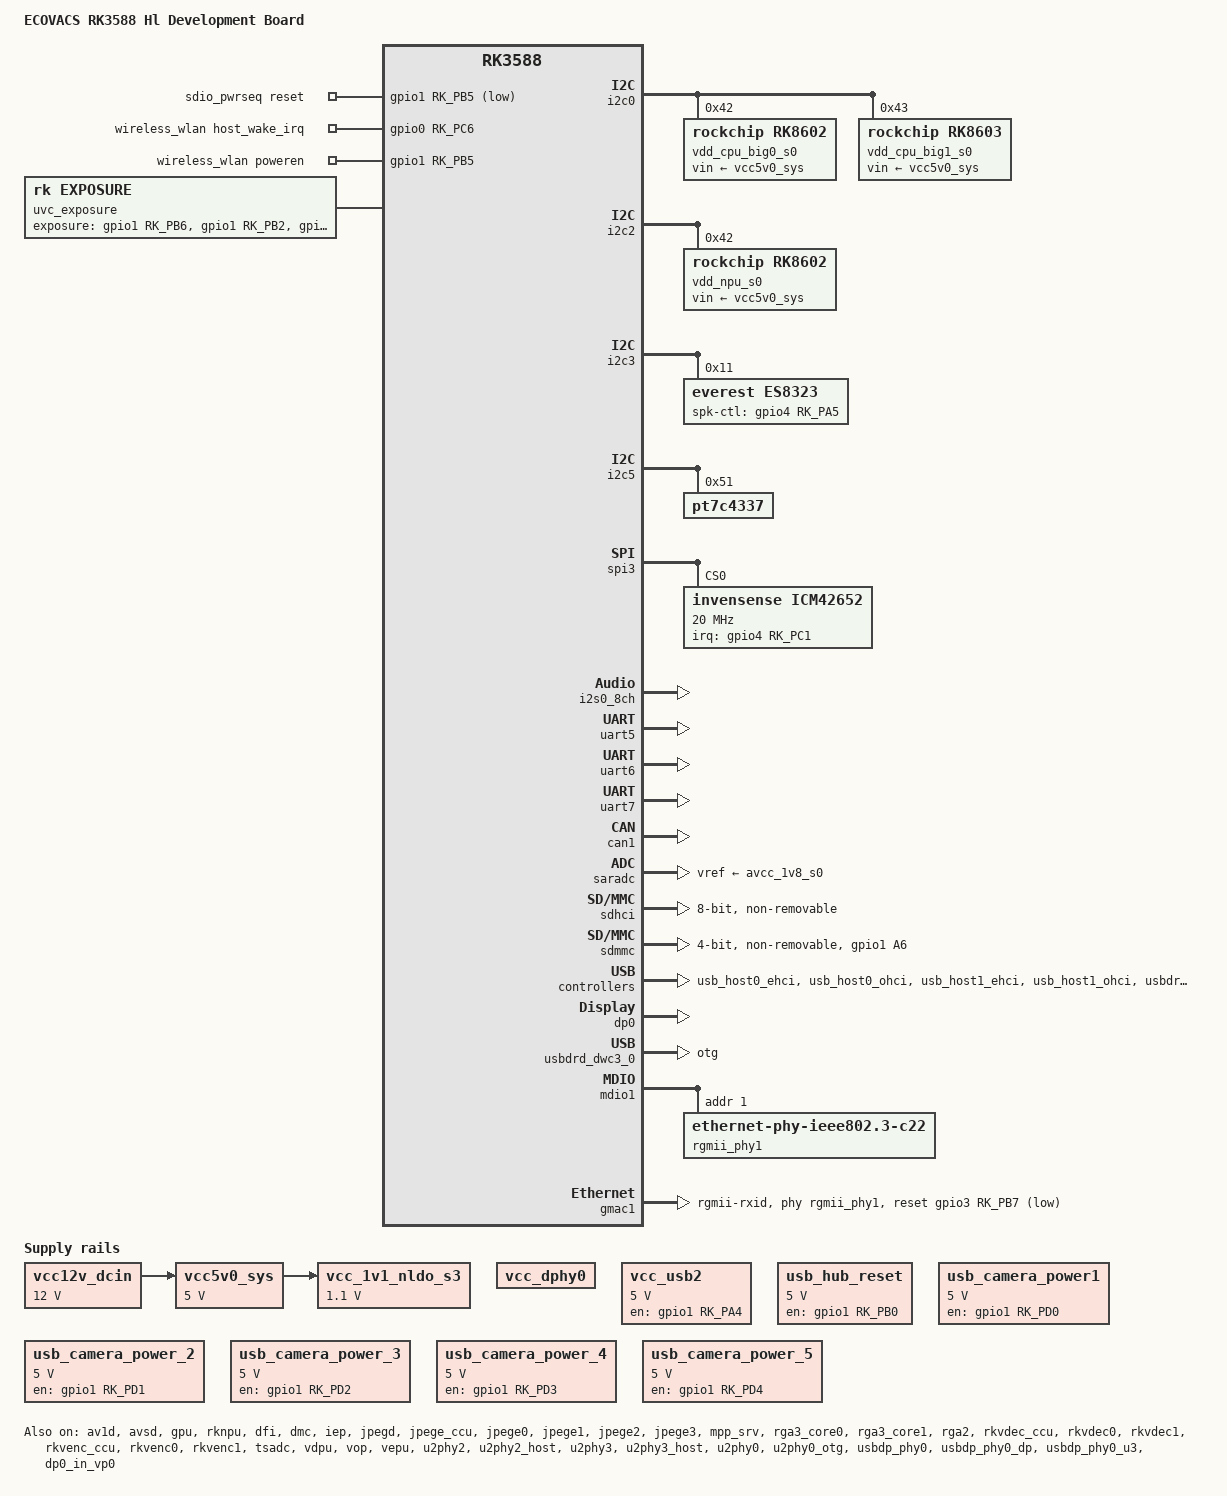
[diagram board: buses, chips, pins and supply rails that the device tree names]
// SPDX-License-Identifier: (GPL-2.0+ OR MIT)
/*
 * Copyright (c) 2022 Rockchip Electronics Co., Ltd.
 * Copyright (c) 2022 Radxa Limited
 * Modify by dy008
 */

/dts-v1/;

#include <dt-bindings/gpio/gpio.h>
#include <dt-bindings/pwm/pwm.h>
#include <dt-bindings/pinctrl/rockchip.h>
#include <dt-bindings/input/rk-input.h>
#include <dt-bindings/display/drm_mipi_dsi.h>
#include <dt-bindings/display/rockchip_vop.h>
#include <dt-bindings/sensor-dev.h>
#include "dt-bindings/usb/pd.h"

#include "rk3588s.dtsi"
#include "rk3588-rk806-single.dtsi"
#include "rk3588-linux.dtsi"

/ {
	model = "ECOVACS RK3588 Hl Development Board";
	compatible = "rockchip,sy2223-rk3588s", "rockchip,rk3588";

	/delete-node/ chosen;

	vcc12v_dcin: vcc12v-dcin {
		compatible = "regulator-fixed";
		regulator-name = "vcc12v_dcin";
		regulator-always-on;
		regulator-boot-on;
		regulator-min-microvolt = <12000000>;
		regulator-max-microvolt = <12000000>;
	};

	vcc5v0_sys: vcc5v0-sys {
		compatible = "regulator-fixed";
		regulator-name = "vcc5v0_sys";
		regulator-always-on;
		regulator-boot-on;
		regulator-min-microvolt = <5000000>;
		regulator-max-microvolt = <5000000>;
		vin-supply = <&vcc12v_dcin>;
	};

	vcc_1v1_nldo_s3: vcc-1v1-nldo-s3 {
		compatible = "regulator-fixed";
		regulator-name = "vcc_1v1_nldo_s3";
		regulator-always-on;
		regulator-boot-on;
		regulator-min-microvolt = <1100000>;
		regulator-max-microvolt = <1100000>;
		vin-supply = <&vcc5v0_sys>;
	};

	vcc-dphy0 {
		compatible = "regulator-fixed";
		enable-active-high;
		//gpio = <0x159 0x09 0x00>;
		//gpio = <&gpio1 RK_PB1 GPIO_ACTIVE_HIGH>;
		pinctrl-names = "default";
		pinctrl-0 = <&dphy0_pwr>;
		regulator-name = "vcc_dphy0";
	};

	vcc_usb2_power {
		//左后单USB3.0座VBUS控制
		compatible = "regulator-fixed";
		regulator-name = "vcc_usb2";
		enable-active-high;
		regulator-boot-on;
		//enable-gpio = <0x159 0x04 0x00>;
		enable-gpio = <&gpio1 RK_PA4 GPIO_ACTIVE_HIGH>;
		regulator-min-microvolt = <5000000>;
		regulator-max-microvolt = <5000000>;
		pinctrl-names = "default";
		pinctrl-0 = <&usb_hub2_en>;
	};

	usb_hub_reset1 {
		// U9608(左侧CYUSB3304 USB HUB复位控制 高电平复位)
		compatible = "regulator-fixed";
		regulator-name = "usb_hub_reset";
		enable-active-high;
		regulator-boot-on;
		//enable-gpio = <0x159 0x08 0x01>;
		enable-gpios = <&gpio1 RK_PB0 GPIO_ACTIVE_HIGH>;
		regulator-min-microvolt = <5000000>;
		regulator-max-microvolt = <5000000>;
		pinctrl-names = "default";
		pinctrl-0 = <&usb_hub_reset_1>;
		startup-delay-us = <1000000>;
	};

	usb_camera_power1 {
		compatible = "regulator-fixed";
		regulator-name = "usb_camera_power1";
		enable-active-high;
		regulator-boot-on;
		//enable-gpio = <0x159 0x18 0x00>;
		enable-gpio = <&gpio1 RK_PD0 GPIO_ACTIVE_HIGH>;
		regulator-min-microvolt = <5000000>;
		regulator-max-microvolt = <5000000>;
		pinctrl-names = "default";
		pinctrl-0 = <&usb_camera_power_1>;
	};

	usb_camera_power_2 {
		compatible = "regulator-fixed";
		regulator-name = "usb_camera_power_2";
		enable-active-high;
		regulator-boot-on;
		//enable-gpio = <0x159 0x19 0x00>;
		enable-gpio = <&gpio1 RK_PD1 GPIO_ACTIVE_HIGH>;
		regulator-min-microvolt = <5000000>;
		regulator-max-microvolt = <5000000>;
		pinctrl-names = "default";
		pinctrl-0 = <&usb_camera_power_2>;
	};

	usb_camera_power_3 {
		compatible = "regulator-fixed";
		regulator-name = "usb_camera_power_3";
		enable-active-high;
		regulator-boot-on;
		//enable-gpio = <0x159 0x1a 0x00>;
		enable-gpio = <&gpio1 RK_PD2 GPIO_ACTIVE_HIGH>;
		regulator-min-microvolt = <5000000>;
		regulator-max-microvolt = <5000000>;
		pinctrl-names = "default";
		pinctrl-0 = <&usb_camera_power_3>;
	};

	usb_camera_power_4 {
		compatible = "regulator-fixed";
		regulator-name = "usb_camera_power_4";
		enable-active-high;
		regulator-boot-on;
		//enable-gpio = <0x159 0x1b 0x00>;
		enable-gpio = <&gpio1 RK_PD3 GPIO_ACTIVE_HIGH>;
		regulator-min-microvolt = <5000000>;
		regulator-max-microvolt = <5000000>;
		pinctrl-names = "default";
		pinctrl-0 = <&usb_camera_power_4>;
	};

	usb_camera_power_5 {
		compatible = "regulator-fixed";
		regulator-name = "usb_camera_power_5";
		enable-active-high;
		regulator-boot-on;
		//enable-gpio = <0x159 0x1d 0x00>;
		enable-gpio = <&gpio1 RK_PD4 GPIO_ACTIVE_HIGH>;
		regulator-min-microvolt = <5000000>;
		regulator-max-microvolt = <5000000>;
		pinctrl-names = "default";
		pinctrl-0 = <&usb_camera_power_5>;
	};

	sdio_pwrseq: sdio-pwrseq {
		compatible = "mmc-pwrseq-simple";
		pinctrl-names = "default";
		pinctrl-0 = <&wifi_reset>;
		post-power-on-delay-ms = <200>;
		reset-gpios = <&gpio1 RK_PB5 GPIO_ACTIVE_LOW>;
	};

	wireless_wlan: wireless-wlan {
		compatible = "wlan-platdata";
		wifi_chip_type = "rtl8852bs";
		sdio_vref = <1800>;
		pinctrl-names = "default";
		pinctrl-0 = <&wifi_host_wake_irq>;
		WIFI,host_wake_irq = <&gpio0 RK_PC6 GPIO_ACTIVE_HIGH>;
		WIFI,poweren_gpio = <&gpio1 RK_PB5 GPIO_ACTIVE_HIGH>;
		status = "okay";
	};

	/* wireless-bluetooth {
		compatible = "bluetooth-platdata";
		clock-names = "ext_clock";
		//uart_rts_gpios = <0x10b 0x1e 0x01>;
		uart_rts_gpios = <&gpio1 RK_PD6 GPIO_ACTIVE_LOW>;
		pinctrl-names = "default", "rts_gpio";
		pinctrl-0 = <&bt_reset_gpio &bt_wake_gpio &bt_wake_host_irq>;
		pinctrl-1 = <&uart1_gpios>;
		BT,reset_gpio = <&gpio0 RK_PD4 GPIO_ACTIVE_HIGH>;
		BT,wake_gpio = <&gpio0 RK_PC6 GPIO_ACTIVE_HIGH>;
		BT,wake_host_irq = <&gpio0 RK_PB0 GPIO_ACTIVE_HIGH>;
		status = "okay";
	}; */

	es8311-sound {
		status = "okay";
		compatible = "simple-audio-card";
		simple-audio-card,format = "i2s";
		simple-audio-card,mclk-fs = <0x100>;
		simple-audio-card,name = "rockchip,es8311";

		simple-audio-card,dai-link@0 {
			format = "i2s";

			cpu {
				sound-dai = <&i2s0_8ch>;
			};

			codec {
				sound-dai = <&es8323>;
			};
		};
	};

	uvc_exposure {
		compatible = "rk,exposure";
		status = "okay";
		pinctrl-names = "default";
		pinctrl-0 = <&exposure1
			     &exposure2
			     &exposure3
			     &exposure4
			     &exposure5>;
		exposure_gpio = <&gpio1 RK_PB6 GPIO_ACTIVE_HIGH 
				 &gpio1 RK_PB2 GPIO_ACTIVE_HIGH
				 &gpio0 RK_PD3 GPIO_ACTIVE_HIGH
				 &gpio0 RK_PD4 GPIO_ACTIVE_HIGH
				 &gpio0 RK_PD5 GPIO_ACTIVE_HIGH>;
	};
};

&i2c0 {
	status = "okay";
	pinctrl-names = "default";
	pinctrl-0 = <&i2c0m2_xfer>;

	vdd_cpu_big0_s0: vdd_cpu_big0_mem_s0: rk8602@42 {
		compatible = "rockchip,rk8602";
		reg = <0x42>;
		vin-supply = <&vcc5v0_sys>;
		regulator-compatible = "rk860x-reg";
		regulator-name = "vdd_cpu_big0_s0";
		regulator-min-microvolt = <550000>;
		regulator-max-microvolt = <1050000>;
		regulator-ramp-delay = <2300>;
		rockchip,suspend-voltage-selector = <1>;
		regulator-boot-on;
		regulator-always-on;
		regulator-state-mem {
			regulator-off-in-suspend;
		};
	};

	vdd_cpu_big1_s0: vdd_cpu_big1_mem_s0: rk8603@43 {
		compatible = "rockchip,rk8603";
		reg = <0x43>;
		vin-supply = <&vcc5v0_sys>;
		regulator-compatible = "rk860x-reg";
		regulator-name = "vdd_cpu_big1_s0";
		regulator-min-microvolt = <550000>;
		regulator-max-microvolt = <1050000>;
		regulator-ramp-delay = <2300>;
		rockchip,suspend-voltage-selector = <1>;
		regulator-boot-on;
		regulator-always-on;
		regulator-state-mem {
			regulator-off-in-suspend;
		};
	};
};

&i2c2 {
	status = "okay";
	pinctrl-names = "default";
	pinctrl-0 = <&i2c2m0_xfer>;

	vdd_npu_s0: vdd_npu_mem_s0: rk8602@42 {
		compatible = "rockchip,rk8602";
		reg = <0x42>;
		vin-supply = <&vcc5v0_sys>;
		regulator-compatible = "rk860x-reg";
		regulator-name = "vdd_npu_s0";
		regulator-min-microvolt = <550000>;
		regulator-max-microvolt = <950000>;
		regulator-ramp-delay = <2300>;
		rockchip,suspend-voltage-selector = <1>;
		regulator-boot-on;
		regulator-always-on;
		regulator-state-mem {
			regulator-off-in-suspend;
		};
	};
};

&i2c3 {
	pinctrl-names = "default";
	pinctrl-0 = <&i2c3m0_xfer>;
	status = "okay";

	es8323: es8323@11 {
		status = "okay";
		#sound-dai-cells = <0>;
		compatible = "everest,es8323";
		reg = <0x11>;
		adc-pga-gain = <0x06>;
		adc-volume = <0xbf>;
		dac-volume = <0xbf>;
		aec-mode = "adc left, adc right";
		clocks = <&mclkout_i2s0>;
		clock-names = "mclk";
		spk-ctl-gpio = <&gpio4 RK_PA5 GPIO_ACTIVE_HIGH>;
		assigned-clocks = <&mclkout_i2s0>;
		assigned-clock-rates = <12288000>;
		pinctrl-names = "default";
		pinctrl-0 = <&i2s0_mclk>;
	};
};

&i2c5 {
	pinctrl-names = "default";
	pinctrl-0 = <&i2c5m2_xfer>;
	status = "okay";

	pt7c4337: pt7c4337@51 {
			reg = <0x51>;
		};
};

&spi3 {
	status = "okay";
	assigned-clocks = <&cru CLK_SPI3>;
	assigned-clock-rates = <200000000>;
	pinctrl-names = "default";
	pinctrl-0 = <&spi3m1_cs0 &spi3m1_pins>;
	rx-sample-delay-ns = <0x0f>;

	icm42652@0 {
		compatible = "invensense,icm42652";
		reg = <0x00>;
		spi-max-frequency = <20000000>;
		spi-cpha;
		spi-cpol;
		interrupt-parent = <&gpio4>;
		interrupts = <RK_PC1 IRQ_TYPE_EDGE_FALLING>;
		pinctrl-names = "default";
		pinctrl-0 = <&icm_int1>;
	};
};

&i2s0_8ch {
    status = "okay";
    pinctrl-0 = <&i2s0_lrck
             &i2s0_sclk
             &i2s0_sdi0
             &i2s0_sdo0>;
};

&uart5 {
	pinctrl-0 = <&uart5m1_xfer>;
	status = "okay";
};

&uart6 {
	pinctrl-0 = <&uart6m1_xfer &uart6m1_ctsn &uart6m1_rtsn>;
	status = "okay";
};

&uart7 {
	pinctrl-0 = <&uart7m1_xfer>;
	status = "okay";
};

&can1 {
	status = "okay";
	pinctrl-names = "default";
	pinctrl-0 = <&can1m1_pins>;
};

&av1d {
	status = "okay";
};

&av1d_mmu {
	status = "okay";
};

&avsd {
	status = "okay";
};

/* CPU */

&cpu_l0 {
	cpu-supply = <&vdd_cpu_lit_s0>;
	mem-supply = <&vdd_cpu_lit_mem_s0>;
};

&cpu_b0 {
	cpu-supply = <&vdd_cpu_big0_s0>;
	mem-supply = <&vdd_cpu_big0_mem_s0>;
};

&cpu_b1 {
	cpu-supply = <&vdd_cpu_big0_s0>;
	mem-supply = <&vdd_cpu_big0_mem_s0>;
	#cooling-cells = <2>;
};

&cpu_b2 {
	cpu-supply = <&vdd_cpu_big1_s0>;
	mem-supply = <&vdd_cpu_big1_mem_s0>;
};

&cpu_b3 {
	cpu-supply = <&vdd_cpu_big1_s0>;
	mem-supply = <&vdd_cpu_big1_mem_s0>;
	#cooling-cells = <2>;
};

/* GPU */

&gpu {
	mali-supply = <&vdd_gpu_s0>;
	mem-supply = <&vdd_gpu_mem_s0>;
	status = "okay";
};

/* NPU */

&rknpu {
	rknpu-supply = <&vdd_npu_s0>;
	mem-supply = <&vdd_npu_mem_s0>;
	status = "okay";
};

&dfi {
	status = "okay";
};

&dmc {
	status = "okay";
	center-supply = <&vdd_ddr_s0>;
	mem-supply = <&vdd_log_s0>;
};

&rknpu_mmu {
	status = "okay";
};

&iep {
	status = "okay";
};

&iep_mmu {
	status = "okay";
};

&jpegd {
	status = "okay";
};

&jpegd_mmu {
	status = "okay";
};

&jpege_ccu {
	status = "okay";
};

&jpege0 {
	status = "okay";
};

&jpege0_mmu {
	status = "okay";
};

&jpege1 {
	status = "okay";
};

&jpege1_mmu {
	status = "okay";
};

&jpege2 {
	status = "okay";
};

&jpege2_mmu {
	status = "okay";
};

&jpege3 {
	status = "okay";
};

&jpege3_mmu {
	status = "okay";
};

&mpp_srv {
	status = "okay";
};

&rga3_core0 {
	status = "okay";
};

&rga3_0_mmu {
	status = "okay";
};

&rga3_core1 {
	status = "okay";
};

&rga3_1_mmu {
	status = "okay";
};

&rga2 {
	status = "okay";
};

&rkvdec_ccu {
	status = "okay";
};

&rkvdec0 {
	status = "okay";
};

&rkvdec0_mmu {
	status = "okay";
};

&rkvdec1 {
	status = "okay";
};

&rkvdec1_mmu {
	status = "okay";
};

&rkvenc_ccu {
	status = "okay";
};

&rkvenc0 {
	status = "okay";
};

&rkvenc0_mmu {
	status = "okay";
};

&rkvenc1 {
	status = "okay";
};

&rkvenc1_mmu {
	status = "okay";
};

&saradc {
	status = "okay";
	vref-supply = <&avcc_1v8_s0>;
};

/* Storage */
/* eMMC */

&sdhci {
	bus-width = <8>;
	no-sdio;
	no-sd;
	non-removable;
	max-frequency = <200000000>;
	mmc-hs200-1_8v;
	mmc-hs400-1_8v;
	mmc-hs400-enhanced-strobe;
	status = "okay";
};

/* SD */

&sdmmc {
	max-frequency = <200000000>;
	bus-width = <4>;
	supports-sdio;
	disable-wp;
	sd-uhs-sdr104;
	cap-sdio-irq;
	keep-power-in-suspend;
	mmc-pwrseq = <&sdio_pwrseq>;
	non-removable;
	pinctrl-names = "default";
	pinctrl-0 = <&sdmmc_bus4 &sdmmc_clk &sdmmc_cmd &sdmmc_det &wifi_pwr_en>;
	status = "okay";
};

/* &sdio {
	max-frequency = <200000000>;
	no-sd;
	no-mmc;
	bus-width = <4>;
	disable-wp;
	cap-sd-highspeed;
	cap-sdio-irq;
	keep-power-in-suspend;
	mmc-pwrseq = <&sdio_pwrseq>;
	non-removable;
	pinctrl-names = "default";
	pinctrl-0 = <&sdiom1_pins>;
	sd-uhs-sdr104;
	status = "okay";
}; */

/* ADC */

&tsadc {
	status = "okay";
};

&vdpu {
	status = "okay";
};

&vdpu_mmu {
	status = "okay";
};

&vop {
	vop-supply = <&vdd_log_s0>;
	support-multi-area;
	status = "okay";
};

&vop_mmu {
	status = "okay";
};

&vepu {
	status = "okay";
};

/* vp0 & vp1 splice for 8K output */
&vp0 {
	rockchip,plane-mask = <(1 << ROCKCHIP_VOP2_CLUSTER0 | 1 << ROCKCHIP_VOP2_ESMART0)>;
	rockchip,primary-plane = <ROCKCHIP_VOP2_ESMART0>;
};

&vp1 {
	rockchip,plane-mask = <(1 << ROCKCHIP_VOP2_CLUSTER1 | 1 << ROCKCHIP_VOP2_ESMART1)>;
	rockchip,primary-plane = <ROCKCHIP_VOP2_ESMART1>;
};

&vp2 {
	rockchip,plane-mask = <(1 << ROCKCHIP_VOP2_CLUSTER2 | 1 << ROCKCHIP_VOP2_ESMART2)>;
	rockchip,primary-plane = <ROCKCHIP_VOP2_ESMART2>;
};

&vp3 {
	rockchip,plane-mask = <(1 << ROCKCHIP_VOP2_CLUSTER3 | 1 << ROCKCHIP_VOP2_ESMART3)>;
	rockchip,primary-plane = <ROCKCHIP_VOP2_ESMART3>;
};

/* USB */

&usb_host0_ehci {
	status = "okay";
};

&usb_host0_ohci {
	status = "okay";
};

&u2phy2 {
	status = "okay";
};

&u2phy2_host {
	status = "okay";
};

&usb_host1_ehci {
	status = "okay";
};

&usb_host1_ohci {
	status = "okay";
};

&u2phy3 {
	status = "okay";
};

&u2phy3_host {
	status = "okay";
};

//USB2.0 PHY0
&u2phy0 {
	status = "okay";
};

&u2phy0_otg {
	status = "okay";
};

/* USB3.1/DP Combo PHY0 */
&usbdp_phy0 {
	rockchip,dp-lane-mux = <2 3>;
	status = "okay";	
};

&usbdp_phy0_dp {
	status = "okay";
};

&usbdp_phy0_u3 {
	status = "okay";
};

&dp0 {
	status = "okay";
};

&dp0_in_vp0 {
status = "okay";
};

/* USB3.1 OTG0 Controller  */
&usbdrd3_0 {
	status = "okay";
};

&usbdrd_dwc3_0 {
	dr_mode = "otg";
	extcon = <&u2phy0>;	
	status = "okay";
};

&usbhost3_0 {
	status = "okay";
};

&usbhost_dwc3_0 {
	status = "okay";
};

/* PCIe */
	
/* &combphy0_ps {
	status = "okay";
};

&combphy2_psu {
	status = "okay";
};

&pcie2x1l2 {
	status = "okay";
	//reset-gpios = <0xca 0x19 0x00>;
	reset-gpios = <&gpio3 RK_PD1 GPIO_ACTIVE_HIGH>;
};
 */
/* Ethernet */

&mdio1 {
	rgmii_phy1: phy@1 {
		compatible = "ethernet-phy-ieee802.3-c22";
		reg = <0x01>;
	};
};

&gmac1 {
	status = "okay";
	phy-mode = "rgmii-rxid";
	clock_in_out = "output";
	snps,reset-gpio = <&gpio3 RK_PB7 GPIO_ACTIVE_LOW>;
	snps,reset-active-low;
	// Reset time is 20ms, 100ms for rtl8211f
	snps,reset-delays-us = <0 20000 100000>;

	pinctrl-names = "default";
	pinctrl-0 = <&gmac1_miim
		     &gmac1_tx_bus2
		     &gmac1_rx_bus2
		     &gmac1_rgmii_clk
		     &gmac1_rgmii_bus>;

	tx_delay = <0x45>;
	//rx_delay = <0x3e>;

	phy-handle = <&rgmii_phy1>;
};

/* I2C */

&threshold {
	temperature = <60000>;
};

&rockchip_suspend {
	compatible = "rockchip,pm-rk3588";
	status = "okay";
	rockchip,sleep-debug-en = <1>;
	rockchip,sleep-mode-config = <
		(0
		| RKPM_SLP_ARMOFF_DDRPD
		)
	>;
	rockchip,wakeup-config = <
		(0
		| RKPM_GPIO_WKUP_EN
		| RKPM_USB_WKUP_EN
		)
	>;
};

&avdd_0v75_s0 {
	regulator-state-mem {
		regulator-on-in-suspend;
		regulator-suspend-microvolt = <837500>;
	};
};

&avcc_1v8_s0 {
	regulator-state-mem {
		regulator-on-in-suspend;
		regulator-suspend-microvolt = <1800000>;
	};
};

&vcc_1v8_s0 {
	regulator-state-mem {
		regulator-on-in-suspend;
		regulator-suspend-microvolt = <1800000>;
	};
};

&vcc_3v3_s0 {
	regulator-state-mem {
		regulator-on-in-suspend;
		regulator-suspend-microvolt = <3300000>;
	};
};

&vdd_log_s0 {
	regulator-state-mem {
		regulator-on-in-suspend;
		regulator-suspend-microvolt = <750000>;
	};
};

&vdd_ddr_pll_s0 {
	regulator-state-mem {
		regulator-on-in-suspend;
		regulator-suspend-microvolt = <850000>;
	};
};

&pinctrl {
	imu{
		icm_int1: icm-int1 {
			//rockchip,pins = <0x04 0x11 0x00 0x148>;
			rockchip,pins = <4 RK_PC1 RK_FUNC_GPIO &pcfg_pull_none>;
		};
	};

	usb {
		vcc5v0_host_en: vcc5v0-host-en {
			//rockchip,pins = <0x01 0x09 0x00 0x148>;
			rockchip,pins = <1 RK_PB1 RK_FUNC_GPIO &pcfg_pull_none>;
		};

		vcc5v0_host_en1: vcc5v0-host-en1 {
			//rockchip,pins = <0x01 0x05 0x00 0x148>;
			rockchip,pins = <1 RK_PA5 RK_FUNC_GPIO &pcfg_pull_none>;
		};

	};

	exposure {

			exposure1: exposure1 {
				//rockchip,pins = <0x01 0x0e 0x00 0x148>;
				rockchip,pins = <1 RK_PB6 RK_FUNC_GPIO &pcfg_pull_none>;
			};

			exposure2: exposure2 {
				//rockchip,pins = <0x01 0x0a 0x00 0x148>;
				rockchip,pins = <1 RK_PB2 RK_FUNC_GPIO &pcfg_pull_none>;
			};

			exposure3: exposure3 {
				//rockchip,pins = <0x00 0x1b 0x00 0x148>;
				rockchip,pins = <0 RK_PD3 RK_FUNC_GPIO &pcfg_pull_none>;
			};

			exposure4: exposure4 {
				//rockchip,pins = <0x00 0x1c 0x00 0x148>;
				rockchip,pins = <0 RK_PD4 RK_FUNC_GPIO &pcfg_pull_none>;
			};

			exposure5: exposure5 {
				//rockchip,pins = <0x00 0x1d 0x00 0x148>;
				rockchip,pins = <0 RK_PD5 RK_FUNC_GPIO &pcfg_pull_none>;
			};
		};

	camera {

			dphy0_pwr: dphy0-pwr {
				//rockchip,pins = <0x01 0x09 0x00 0x148>;
				rockchip,pins = <1 RK_PB1 RK_FUNC_GPIO &pcfg_pull_none>;
			};

			usb_camera_power_1: usb-camera-power-1 {
				//rockchip,pins = <0x01 0x18 0x00 0x14b>;
				rockchip,pins = <1 RK_PD0 RK_FUNC_GPIO &pcfg_pull_up>;
			};

			usb_camera_power_2: usb-camera-power-2 {
				//rockchip,pins = <0x01 0x19 0x00 0x14b>;
				rockchip,pins = <1 RK_PD1 RK_FUNC_GPIO &pcfg_pull_up>;
			};

			usb_camera_power_3: usb-camera-power-3 {
				//rockchip,pins = <0x01 0x1a 0x00 0x14b>;
				rockchip,pins = <1 RK_PD2 RK_FUNC_GPIO &pcfg_pull_up>;
			};

			usb_camera_power_4: usb-camera-power-4 {
				//rockchip,pins = <0x01 0x1b 0x00 0x14b>;
				rockchip,pins = <1 RK_PD3 RK_FUNC_GPIO &pcfg_pull_up>;
			};

			usb_camera_power_5: usb-camera-power-5 {
				//rockchip,pins = <0x01 0x1d 0x00 0x14b>;
				rockchip,pins = <1 RK_PD5 RK_FUNC_GPIO &pcfg_pull_up>;
			};
		};

	usb-host {

			usb_hub2_en: usb-hub2-en {
				//左后单USB3.0座VBUS控制
				//rockchip,pins = <0x01 0x04 0x00 0x148>;
				rockchip,pins = <1 RK_PA4 RK_FUNC_GPIO &pcfg_pull_none>;
			};

			usb_hub_reset_1: usb-hub-reset-1 {
				// U9608(左侧CYUSB3304 USB HUB复位控制 高电平复位)
				//rockchip,pins = <0x01 0x08 0x00 0x14c>;
				rockchip,pins = <1 RK_PB0 RK_FUNC_GPIO &pcfg_pull_down>;
			};

			vcc_usb3_host_en1_1: vcc-usb3-host-en1-1 {
				//rockchip,pins = <0x04 0x03 0x00 0x14b>;
				rockchip,pins = <4 RK_PA3 RK_FUNC_GPIO &pcfg_pull_up>;
			};

			vcc_usb3_host_en1_2: vcc-usb3-host-en1-2 {
				//rockchip,pins = <0x03 0x1a 0x00 0x14b>;
				rockchip,pins = <3 RK_PD2 RK_FUNC_GPIO &pcfg_pull_up>;
			};

			vcc_usb3_host_en1_3: vcc-usb3-host-en1-3 {
				//rockchip,pins = <0x04 0x02 0x00 0x14b>;
				rockchip,pins = <4 RK_PA2 RK_FUNC_GPIO &pcfg_pull_up>;
			};

			vcc_usb3_host_en1_4: vcc-usb3-host-en1-4 {
				//rockchip,pins = <0x03 0x1d 0x00 0x14b>;
				rockchip,pins = <3 RK_PD5 RK_FUNC_GPIO &pcfg_pull_up>;
			};

			usb_hub_reset_2: usb-hub-reset-2 {
				// U10(右侧CYUSB3304 USB HUB复位控制 高电平复位)
				//rockchip,pins = <0x01 0x16 0x00 0x14b>;
				rockchip,pins = <1 RK_PC6 RK_FUNC_GPIO &pcfg_pull_up>;
			};

			vcc_usb3_host_en1_5: vcc-usb3-host-en1-5 {
				//rockchip,pins = <0x03 0x0a 0x00 0x14b>;
				rockchip,pins = <3 RK_PB2 RK_FUNC_GPIO &pcfg_pull_up>;
			};

			vcc_usb3_host_en1_6: vcc-usb3-host-en1-6 {
				//rockchip,pins = <0x03 0x16 0x00 0x14b>;
				rockchip,pins = <3 RK_PC6 RK_FUNC_GPIO &pcfg_pull_up>;
			};

			vcc_usb3_host_en1_7: vcc-usb3-host-en1-7 {
				//rockchip,pins = <0x03 0x1b 0x00 0x14b>;
				rockchip,pins = <3 RK_PD3 RK_FUNC_GPIO &pcfg_pull_up>;
			};

			vcc_usb3_host_en1_8: vcc-usb3-host-en1-8 {
				//rockchip,pins = <0x03 0x1c 0x00 0x14b>;
				rockchip,pins = <3 RK_PD4 RK_FUNC_GPIO &pcfg_pull_up>;
			};
		};

	wireless-bluetooth {

/* 			uart1_gpios: uart1-gpios {
				//rockchip,pins = <0x01 0x1e 0x00 0x157>;
				rockchip,pins = <1 RK_PD6 RK_FUNC_GPIO &pcfg_pull_none>;
			};

			bt_reset_gpio: bt-reset-gpio {
				//rockchip,pins = <0x00 0x1c 0x00 0x157>;
				rockchip,pins = <0 RK_PD5 RK_FUNC_GPIO &pcfg_pull_none>;
			};

			bt_wake_gpio: bt-wake-gpio {
				//rockchip,pins = <0x00 0x16 0x00 0x157>;
				rockchip,pins = <0 RK_PC6 RK_FUNC_GPIO &pcfg_pull_none>;
			};

			bt_wake_host_irq: bt-wake-host-irq {
				//rockchip,pins = <0x00 0x08 0x00 0x15d>;
				rockchip,pins = <0 RK_PB0 RK_FUNC_GPIO &pcfg_pull_down>;
			}; */
		};

		wireless-wlan {

			wifi_pwr_en: wifi-pwr-en {
				rockchip,pins = <1 RK_PA6 RK_FUNC_GPIO &pcfg_pull_up>;
			};

			wifi_reset: wifi-reset {
				rockchip,pins = <1 RK_PB5 RK_FUNC_GPIO &pcfg_pull_up>;
			};

			wifi_host_wake_irq: wifi-host-wake-irq {
				rockchip,pins = <0 RK_PC6 RK_FUNC_GPIO &pcfg_pull_down>;
			};
		};
};

&gpio0 {
	gpio-line-names =
		/* GPIO0_A0-A3 */
		"", "", "", "",
		/* GPIO0_A4-A7 */
		"", "", "", "",

		/* GPIO0_B0-B3 */
		"", "", "", "",
		/* GPIO0_B4-B7 */
		"", "PIN_8", "PIN_10", "",

		/* GPIO0_C0-C3 */
		"", "", "", "",
		/* GPIO0_C4-C7 */
		"", "", "", "PIN_27",

		/* GPIO0_D0-D3 */
		"PIN_28", "", "", "",
		/* GPIO0_D4-D7 */
		"", "", "", "";
};

&gpio1 {
	gpio-line-names =
		/* GPIO1_A0-A3 */
		"PIN_21", "PIN_19", "PIN_23", "PIN_24",
		/* GPIO1_A4-A7 */
		"PIN_26", "PIN_16", "", "",

		/* GPIO1_B0-B3 */
		"PIN_18", "PIN_31", "PIN_29", "PIN_7",
		/* GPIO1_B4-B7 */
		"PIN_33", "PIN_22", "", "",

		/* GPIO1_C0-C3 */
		"", "", "", "",
		/* GPIO1_C4-C7 */
		"", "", "", "",

		/* GPIO1_D0-D3 */
		"", "", "", "",
		/* GPIO1_D4-D7 */
		"", "", "PIN_5", "PIN_3";
};

&gpio2 {
	gpio-line-names =
		/* GPIO2_A0-A3 */
		"", "", "", "",
		/* GPIO2_A4-A7 */
		"", "", "", "",

		/* GPIO2_B0-B3 */
		"", "", "", "",
		/* GPIO2_B4-B7 */
		"", "", "", "",

		/* GPIO2_C0-C3 */
		"", "", "", "",
		/* GPIO2_C4-C7 */
		"", "", "", "",

		/* GPIO2_D0-D3 */
		"", "", "", "",
		/* GPIO2_D4-D7 */
		"", "", "", "";
};

&gpio3 {
	gpio-line-names =
		/* GPIO3_A0-A3 */
		"", "", "", "",
		/* GPIO3_A4-A7 */
		"", "", "", "",

		/* GPIO3_B0-B3 */
		"", "", "", "",
		/* GPIO3_B4-B7 */
		"", "", "", "",

		/* GPIO3_C0-C3 */
		"", "", "", "",
		/* GPIO3_C4-C7 */
		"", "", "", "",

		/* GPIO3_D0-D3 */
		"", "", "", "",
		/* GPIO3_D4-D7 */
		"", "", "", "";
};

&gpio4 {
	gpio-line-names =
		/* GPIO4_A0-A3 */
		"PIN_35", "PIN_12", "PIN_36", "",
		/* GPIO4_A4-A7 */
		"", "PIN_38", "", "",

		/* GPIO4_B0-B3 */
		"PIN_32", "PIN_40", "PIN_13", "PIN_11",
		/* GPIO4_B4-B7 */
		"PIN_15", "", "", "",

		/* GPIO4_C0-C3 */
		"", "", "", "",
		/* GPIO4_C4-C7 */
		"", "", "", "",

		/* GPIO4_D0-D3 */
		"", "", "", "",
		/* GPIO4_D4-D7 */
		"", "", "", "";
};
